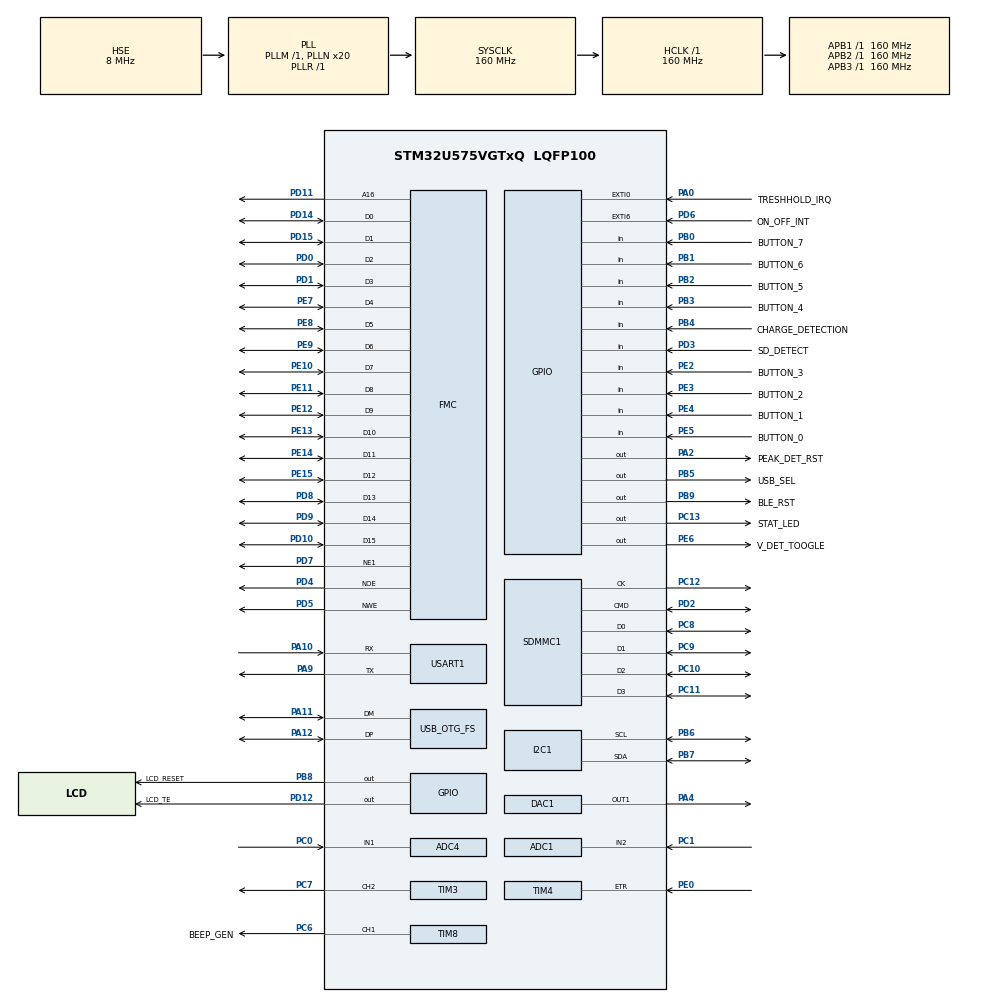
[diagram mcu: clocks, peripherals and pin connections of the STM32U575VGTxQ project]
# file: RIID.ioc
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ADC1.Channel-0\#ChannelRegularConversion=ADC_CHANNEL_2
ADC1.ClockPrescaler=ADC_CLOCK_ASYNC_DIV8
ADC1.DiscontinuousConvMode=ENABLE
ADC1.EnableRegularConversion=ENABLE
ADC1.MonitoredBy-0\#ChannelRegularConversion=__NULL
ADC1.NbrOfConversion=1
ADC1.NbrOfConversionFlag=1
ADC1.OffsetNumber-0\#ChannelRegularConversion=ADC_OFFSET_NONE
ADC1.Rank-0\#ChannelRegularConversion=1
ADC1.Resolution=ADC_RESOLUTION_10B
ADC1.SamplingTime-0\#ChannelRegularConversion=ADC_SAMPLETIME_5CYCLE
ADC1.master=1
ADC4.Channel-0\#ChannelRegularConversion=ADC_CHANNEL_1
ADC4.ClockPrescaler=ADC_CLOCK_ASYNC_DIV8
ADC4.ContinuousConvMode=ENABLE
ADC4.NbrOfConversion=1
ADC4.NbrOfConversionFlag=1
ADC4.OffsetNumber-0\#ChannelRegularConversion=ADC_OFFSET_NONE
ADC4.Rank-0\#ChannelRegularConversion=1
ADC4.RankArg-0\#ChannelRegularConversion=ADC4_REGULAR_RANK_1
ADC4.SamplingTime-0\#ChannelRegularConversion=ADC4_SAMPLINGTIME_COMMON_1
ADC4.SamplingTimeCommon1=ADC4_SAMPLETIME_814CYCLES_5
ADC4.ScanConvMode=ADC4_SCAN_DISABLE
ADC4.SelectedChannel=ADC_CHANNEL_1
ADC4.Sequencer=FULLY_CONFIGURABLE
CORTEX_M33_NS.userName=CORTEX_M33
DAC1.DAC_AutonomousMode=DAC_AUTONOMOUS_MODE_ENABLE
DAC1.DAC_Channel-DAC_OUT1=DAC_CHANNEL_1
DMA2D.ColorMode=DMA2D_OUTPUT_RGB565
FILEX.FX_DRIVER_SDMMC_INIT=0
FILEX.FX_SD_INTERFACE=1
FMC.AddressSetupTime1=3
FMC.BusTurnAroundDuration1=2
FMC.DataSetupTime1=2
I2C1.Timing=0x30909DEC
Mcu.Family=STM32U5
Mcu.Name=STM32U575VGTxQ
Mcu.Package=LQFP100
NVIC.EXTI0_IRQn=true\:0\:0\:false\:false\:true\:true\:true\:true
NVIC.EXTI6_IRQn=true\:0\:0\:false\:false\:true\:true\:true\:true
NVIC.OTG_FS_IRQn=true\:0\:0\:false\:false\:true\:true\:true\:true
NVIC.PriorityGroup=NVIC_PRIORITYGROUP_4
NVIC.SDMMC1_IRQn=true\:0\:0\:false\:false\:true\:true\:true\:true
PA0.GPIO_Label=TRESHHOLD_IRQ
PA0.GPIO_ModeDefaultEXTI=GPIO_MODE_IT_RISING_FALLING
PA0.Signal=GPXTI0
PA10.Mode=Asynchronous
PA10.Signal=USART1_RX
PA11.Mode=Device_Only
PA11.Signal=USB_OTG_FS_DM
PA12.Mode=Device_Only
PA12.Signal=USB_OTG_FS_DP
PA13\ (JTMS/SWDIO).Mode=Serial_Wire
PA13\ (JTMS/SWDIO).Signal=DEBUG_JTMS-SWDIO
PA14\ (JTCK/SWCLK).Mode=Serial_Wire
PA14\ (JTCK/SWCLK).Signal=DEBUG_JTCK-SWCLK
PA2.GPIO_Label=PEAK_DET_RST
PA2.GPIO_Speed=GPIO_SPEED_FREQ_VERY_HIGH
PA2.PinState=GPIO_PIN_SET
PA2.Signal=GPIO_Output
PA4.Signal=COMP_DAC11_group
PA9.Mode=Asynchronous
PA9.Signal=USART1_TX
PB0.GPIO_Label=BUTTON_7
PB0.GPIO_PuPd=GPIO_PULLUP
PB0.Signal=GPIO_Input
PB1.GPIO_Label=BUTTON_6
PB1.GPIO_PuPd=GPIO_PULLUP
PB1.Signal=GPIO_Input
PB2.GPIO_Label=BUTTON_5
PB2.GPIO_PuPd=GPIO_PULLUP
PB2.Signal=GPIO_Input
PB3\ (JTDO/TRACESWO).GPIO_Label=BUTTON_4
PB3\ (JTDO/TRACESWO).GPIO_PuPd=GPIO_PULLUP
PB3\ (JTDO/TRACESWO).Signal=GPIO_Input
PB4\ (NJTRST).GPIO_Label=CHARGE_DETECTION
PB4\ (NJTRST).Signal=GPIO_Input
PB5.GPIO_Label=USB_SEL
PB5.PinState=GPIO_PIN_SET
PB5.Signal=GPIO_Output
PB6.Mode=I2C
PB6.Signal=I2C1_SCL
PB7.Mode=I2C
PB7.Signal=I2C1_SDA
PB8.GPIO_Label=LCD_RESET
PB8.Signal=GPIO_Output
PB9.GPIO_Label=BLE_RST
PB9.Signal=GPIO_Output
PC0.Mode=IN1
PC0.Signal=ADC4_IN1
PC1.Mode=IN2-Single-Ended
PC1.Signal=ADC1_IN2
PC10.Mode=SD_4_bits_Wide_bus
PC10.Signal=SDMMC1_D2
PC11.Mode=SD_4_bits_Wide_bus
PC11.Signal=SDMMC1_D3
PC12.Mode=SD_4_bits_Wide_bus
PC12.Signal=SDMMC1_CK
PC13.GPIO_Label=STAT_LED
PC13.Signal=GPIO_Output
PC6.GPIO_Label=BEEP_GEN
PC6.Signal=S_TIM8_CH1
PC7.Signal=S_TIM3_CH2
PC8.Mode=SD_4_bits_Wide_bus
PC8.Signal=SDMMC1_D0
PC9.Mode=SD_4_bits_Wide_bus
PC9.Signal=SDMMC1_D1
PD0.Mode=16b-d1
PD0.Signal=FMC_D2
PD1.Mode=16b-d1
PD1.Signal=FMC_D3
PD10.Mode=16b-d1
PD10.Signal=FMC_D15
PD11.Mode=A16_1
PD11.Signal=FMC_A16
PD12.GPIO_Label=LCD_TE
PD12.Signal=GPIO_Output
PD14.Mode=16b-d1
PD14.Signal=FMC_D0
PD15.Mode=16b-d1
PD15.Signal=FMC_D1
PD2.Mode=SD_4_bits_Wide_bus
PD2.Signal=SDMMC1_CMD
PD3.GPIO_Label=SD_DETECT
PD3.Signal=GPIO_Input
PD4.Mode=Lcd1
PD4.Signal=FMC_NOE
PD5.Mode=Lcd1
PD5.Signal=FMC_NWE
PD6.GPIO_Label=ON_OFF_INT
PD6.Signal=GPXTI6
PD7.Mode=NorPsramChipSelect1_1
PD7.Signal=FMC_NE1
PD8.Mode=16b-d1
PD8.Signal=FMC_D13
PD9.Mode=16b-d1
PD9.Signal=FMC_D14
PE0.Signal=S_TIM4_ETR
PE10.Mode=16b-d1
PE10.Signal=FMC_D7
PE11.Mode=16b-d1
PE11.Signal=FMC_D8
PE12.Mode=16b-d1
PE12.Signal=FMC_D9
PE13.Mode=16b-d1
PE13.Signal=FMC_D10
PE14.Mode=16b-d1
PE14.Signal=FMC_D11
PE15.Mode=16b-d1
PE15.Signal=FMC_D12
PE2.GPIO_Label=BUTTON_3
PE2.GPIO_PuPd=GPIO_PULLUP
PE2.Signal=GPIO_Input
PE3.GPIO_Label=BUTTON_2
PE3.GPIO_PuPd=GPIO_PULLUP
PE3.PinAttribute=Free
PE3.Signal=GPIO_Input
PE4.GPIO_Label=BUTTON_1
PE4.GPIO_PuPd=GPIO_PULLUP
PE4.Signal=GPIO_Input
PE5.GPIO_Label=BUTTON_0
PE5.GPIO_PuPd=GPIO_PULLUP
PE5.Signal=GPIO_Input
PE6.GPIO_Label=V_DET_TOOGLE
PE6.Signal=GPIO_Output
PE7.Mode=16b-d1
PE7.Signal=FMC_D4
PE8.Mode=16b-d1
PE8.Signal=FMC_D5
PE9.Mode=16b-d1
PE9.Signal=FMC_D6
PH0-OSC_IN\ (PH0).Mode=HSE-External-Oscillator
PH0-OSC_IN\ (PH0).Signal=RCC_OSC_IN
PH1-OSC_OUT\ (PH1).Mode=HSE-External-Oscillator
PH1-OSC_OUT\ (PH1).Signal=RCC_OSC_OUT
ProjectManager.HeapSize=0x2000
ProjectManager.StackSize=0x800
ProjectManager.TargetToolchain=STM32CubeIDE
RCC.ADCCLockSelection=RCC_ADCDACCLKSOURCE_SYSCLK
RCC.ADCFreq_Value=160000000
RCC.AHBFreq_Value=160000000
RCC.APB1Freq_Value=160000000
RCC.APB1TimFreq_Value=160000000
RCC.APB2Freq_Value=160000000
RCC.APB2TimFreq_Value=160000000
RCC.APB3Freq_Value=160000000
RCC.CortexFreq_Value=160000000
RCC.EPOD_VALUE=8000000
RCC.HCLKFreq_Value=160000000
RCC.HSE_VALUE=8000000
RCC.HSI48_VALUE=48000000
RCC.HSI_VALUE=16000000
RCC.LSE_VALUE=32768
RCC.LSIDIV_VALUE=32000
RCC.MSIClockRange=RCC_MSIRANGE_0
RCC.MSI_VALUE=48000000
RCC.PLL1R=1
RCC.PLL2FRACN=0
RCC.PLL3FRACN=0
RCC.PLLFRACN=0
RCC.PLLN=20
RCC.PLLSourceVirtual=RCC_PLLSOURCE_HSE
RCC.SYSCLKFreq_VALUE=160000000
RCC.SYSCLKSource=RCC_SYSCLKSOURCE_PLLCLK
RCC.USBFreq_Value=48000000
RCC.VCOOutputFreq_Value=160000000
RTC.Hours=22
RTC.StoreOperation=RTC_STOREOPERATION_SET
SDMMC1.ClockDiv=99
SDMMC1.TransceiverPresent=SDMMC_TRANSCEIVER_PRESENT
SH.COMP_DAC11_group.0=DAC1_OUT1,DAC_OUT1
SH.S_TIM3_CH2.0=TIM3_CH2,PWM Generation2 CH2
SH.S_TIM4_ETR.0=TIM4_ETR,ClockSourceETR_Mode2
SH.S_TIM8_CH1.0=TIM8_CH1,PWM Generation1 CH1
TIM3.Channel-PWM\ Generation2\ CH2=TIM_CHANNEL_2
TIM3.PeriodNoDither=100
TIM3.Prescaler=1600
TIM7.Prescaler=159
TIM8.Channel-PWM\ Generation1\ CH1=TIM_CHANNEL_1
USART1.VirtualMode-Asynchronous=VM_ASYNC
USBX.BSP.number=1
USBX.Core_System=1
USBX.USBD_CDCACM_EPIN_ADDR=2
USBX.USBD_CDCACM_EPOUT_ADDR=3
USBX.USBD_SERIAL_NUMBER=RIID_V100_000001
USBX.USBX_DEVICE_SYS_SIZE=15*1024
USBX.UX_DEVICE_APP_MEM_POOL_SIZE_STANDALONE=15*1024
USBX.UX_DEVICE_CDC_ACM=1
USBX.UX_Device_Controller=1
USBX.UX_Device_CoreStack=1
USBX0.BSP.STBoard=false
USBX0.BSP.api=Unknown
USBX0.BSP.condition=SEMAOoUSBOoOTGOoFSOoDEVICEOoFOROoUSBX & \!DIE455
USBX0.BSP.instance=USB_OTG_FS
USBX0.BSP.ip=USB_OTG_FS
USBX0.BSP.mode=Device_Only
USBX0.BSP.name=USBDevice
USBX0.BSP.solution=USB_OTG_FS
USB_OTG_FS.VirtualMode=Device_Only
VP_DMA2D_VS_DMA2D.Mode=DMA2D_Activate
VP_FILEX_VS_FileOoSystemJjFileXJjCore.Mode=FileX_Core
VP_FILEX_VS_SDOointerface.Mode=SD_interface
VP_LPBAMQUEUE_VS_QUEUE.Mode=QUEUEMODE
VP_LPBAM_VS_SIG1.Mode=SmartRun
VP_LPBAM_VS_SIG4.Mode=LPDMA1
VP_MEMORYMAP_VS_MEMORYMAP.Mode=CurAppReg
VP_PWR_VS_SECSignals.Mode=Security/Privilege
VP_PWR_Vdda.Mode=isolationVdda
VP_RTC_VS_RTC_Activate.Mode=RTC_Enabled
VP_RTC_VS_RTC_Calendar.Mode=RTC_Calendar
VP_TIM7_VS_ClockSourceINT.Mode=Enable_Timer
VP_USBX_Core_System.Mode=Core_System
VP_USBX_UX\ Device\ CDC\ ACM\ Class_FS.Mode=UX_Device_class_CDC_ACM_FS
VP_USBX_UX\ Device\ Controller_FS.Mode=UX_Device_Controller_FS
VP_USBX_UX\ Device\ CoreStack_FS.Mode=UX_Device_CoreStack_FS
board=custom

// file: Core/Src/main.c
/* USER CODE BEGIN Header */
/**
  ******************************************************************************
  * @file           : main.c
  * @brief          : Main program body
  ******************************************************************************
  * @attention
  *
  * Copyright (c) 2024 STMicroelectronics.
  * All rights reserved.
  *
  * This software is licensed under terms that can be found in the LICENSE file
  * in the root directory of this software component.
  * If no LICENSE file comes with this software, it is provided AS-IS.
  *
  ******************************************************************************
  */
/* USER CODE END Header */
#include "main.h"
#include "adc.h"
#include "dac.h"
#include "dma2d.h"
#include "app_filex.h"
#include "i2c.h"
#include "memorymap.h"
#include "rtc.h"
#include "sdmmc.h"
#include "tim.h"
#include "usart.h"
#include "app_usbx_device.h"
#include "usb_otg.h"
#include "gpio.h"
#include "fmc.h"

/* USER CODE BEGIN Includes */
#include "lvgl.h"
#include "LCD_Controller.h"
#include "ui.h"
#include "ui_controller.h"
#include "bsp.h"
#include "application.h"
#include "communication.h"

#include "ux_device_cdc_acm.h"
/* USER CODE END Includes */

/* USER CODE BEGIN PD */
#define DUMMY_SPECTRUM 1
/* USER CODE END PD */

/* USER CODE BEGIN PV */
extern struct _ui_data ui_data;

extern uint32_t spectrum[SPECTRUM_SIZE];

volatile uint32_t com_port_send_msg_interval = SEND_MSG_INTERVAL_MS;
volatile uint32_t display_refresh_interval = DISP_REFRESH_INTERVAL_MS;
volatile uint32_t soc_refresh_interval = 0;
/* USER CODE END PV */

void SystemClock_Config(void);

/* USER CODE BEGIN 0 */

static void MX_NVIC_Init(void)
{
  /* EXTI0_IRQn interrupt configuration */
  HAL_NVIC_SetPriority(EXTI0_IRQn, 0, 0);
  HAL_NVIC_EnableIRQ(EXTI0_IRQn);
}
/* USER CODE END 0 */

int main(void)
{

  /* MCU Configuration--------------------------------------------------------*/

  /* Reset of all peripherals, Initializes the Flash interface and the Systick. */
  HAL_Init();

  /* Configure the system clock */
  SystemClock_Config();

  /* USER CODE BEGIN SysInit */
  HAL_PWREx_EnableVddA();
  /* USER CODE END SysInit */

  /* Initialize all configured peripherals */
  MX_GPIO_Init();
  MX_DAC1_Init();
  MX_DMA2D_Init();
  MX_FMC_Init();
  MX_I2C1_Init();
  MX_SDMMC1_SD_Init();
  MX_USB_OTG_FS_PCD_Init();
  MX_USART1_UART_Init();
  MX_FileX_Init();
  MX_USBX_Device_Init();
  MX_ADC4_Init();
  MX_TIM8_Init();
  MX_ADC1_Init();
  MX_TIM3_Init();
  MX_TIM7_Init();
  MX_TIM4_Init();
  MX_RTC_Init();
  /* USER CODE BEGIN 2 */

  MX_NVIC_Init();
  lv_init();
  lv_port_disp_init();
  ui_init();
  ui_controller_init();
  HAL_TIM_Base_Start(&htim4);
  HAL_TIM_Base_Start(&htim7);

  unsigned int cntr = 0;
  uint16_t height = 0;
  /* USER CODE END 2 */

  /* Infinite loop */
  /* USER CODE BEGIN WHILE */
  while (1)
  {
	  MX_USBX_Device_Process(NULL);
	  lv_timer_handler();
    /* USER CODE END WHILE */

    /* USER CODE BEGIN 3 */
	 // lv_task_handler();
	  if (com_port_send_msg_interval == 0){
		  com_port_send_msg_interval = SEND_MSG_INTERVAL_MS;

		#if DUMMY_SPECTRUM
		 // height = height + 50;
		 // generate_spectrum(spectrum,height);
		#endif
		  uint32_t size = PrintToBuffer(spectrum,SPECTRUM_SIZE);
		  StartVCPTransmission(size);
	  }

	  if (soc_refresh_interval == 0){
		  soc_refresh_interval = SOC_REFRESH_INTERVAL_MS;
		  ui_data.charge_lvl = CalculateSOC();
	  }

	  if (display_refresh_interval == 0){
		  display_refresh_interval = DISP_REFRESH_INTERVAL_MS;

		  ui_data.charging = IsCharging();
		  SetDetectorVoltage(ui_data.detector_voltage);
		  compress_spectrum(spectrum,SPECTRUM_SIZE);
		  Select_Screen();
		  UpdateScreen();
		  UpdateData();
	  }

  }
  /* USER CODE END 3 */
}

void SystemClock_Config(void)
{
  RCC_OscInitTypeDef RCC_OscInitStruct = {0};
  RCC_ClkInitTypeDef RCC_ClkInitStruct = {0};

  /** Configure the main internal regulator output voltage
  */
  if (HAL_PWREx_ControlVoltageScaling(PWR_REGULATOR_VOLTAGE_SCALE1) != HAL_OK)
  {
    Error_Handler();
  }

  /** Initializes the CPU, AHB and APB buses clocks
  */
  RCC_OscInitStruct.OscillatorType = RCC_OSCILLATORTYPE_HSI48|RCC_OSCILLATORTYPE_LSI
                              |RCC_OSCILLATORTYPE_HSE;
  RCC_OscInitStruct.HSEState = RCC_HSE_ON;
  RCC_OscInitStruct.HSI48State = RCC_HSI48_ON;
  RCC_OscInitStruct.LSIState = RCC_LSI_ON;
  RCC_OscInitStruct.LSIDiv = RCC_LSI_DIV1;
  RCC_OscInitStruct.PLL.PLLState = RCC_PLL_ON;
  RCC_OscInitStruct.PLL.PLLSource = RCC_PLLSOURCE_HSE;
  RCC_OscInitStruct.PLL.PLLMBOOST = RCC_PLLMBOOST_DIV1;
  RCC_OscInitStruct.PLL.PLLM = 1;
  RCC_OscInitStruct.PLL.PLLN = 20;
  RCC_OscInitStruct.PLL.PLLP = 2;
  RCC_OscInitStruct.PLL.PLLQ = 2;
  RCC_OscInitStruct.PLL.PLLR = 1;
  RCC_OscInitStruct.PLL.PLLRGE = RCC_PLLVCIRANGE_1;
  RCC_OscInitStruct.PLL.PLLFRACN = 0;
  if (HAL_RCC_OscConfig(&RCC_OscInitStruct) != HAL_OK)
  {
    Error_Handler();
  }

  /** Initializes the CPU, AHB and APB buses clocks
  */
  RCC_ClkInitStruct.ClockType = RCC_CLOCKTYPE_HCLK|RCC_CLOCKTYPE_SYSCLK
                              |RCC_CLOCKTYPE_PCLK1|RCC_CLOCKTYPE_PCLK2
                              |RCC_CLOCKTYPE_PCLK3;
  RCC_ClkInitStruct.SYSCLKSource = RCC_SYSCLKSOURCE_PLLCLK;
  RCC_ClkInitStruct.AHBCLKDivider = RCC_SYSCLK_DIV1;
  RCC_ClkInitStruct.APB1CLKDivider = RCC_HCLK_DIV1;
  RCC_ClkInitStruct.APB2CLKDivider = RCC_HCLK_DIV1;
  RCC_ClkInitStruct.APB3CLKDivider = RCC_HCLK_DIV1;

  if (HAL_RCC_ClockConfig(&RCC_ClkInitStruct, FLASH_LATENCY_4) != HAL_OK)
  {
    Error_Handler();
  }
}

void Error_Handler(void)
{
  __disable_irq();
  while (1)
  {
  }
}
